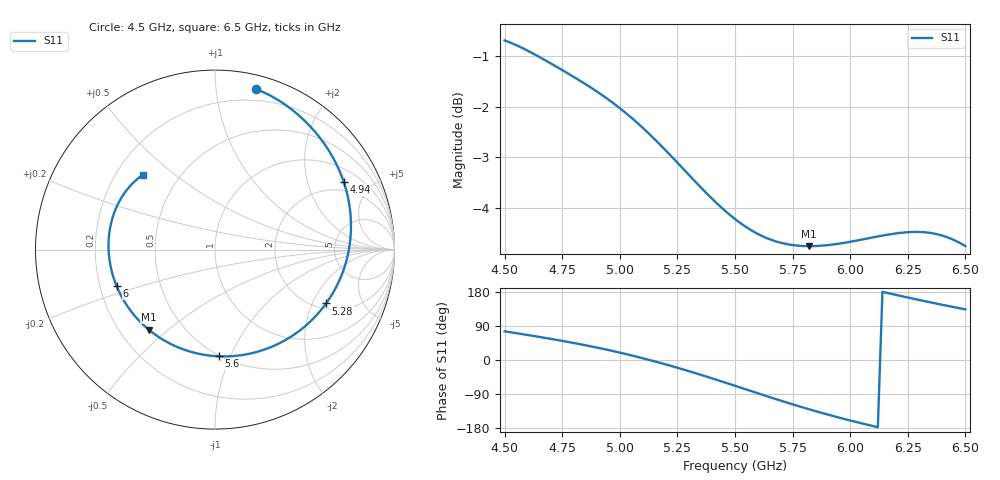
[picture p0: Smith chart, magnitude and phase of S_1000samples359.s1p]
! TOUCHSTONE file generated by CST MICROWAVE STUDIO
! Date and time: Thu Oct 27 21:45:18 2022
! Project name: L.cst
! Parameters = {Di=1.27; Epsilon_r=1.56; InnerDiameter=1.27; Length=2; Lf=10; Lg=60; OuterConductorThickness=0.2921; OuterDiameter=3.6; Wf=3; Wp=41.2; de=1.5; df=6.8; g=0.8; gx=2.61338; gy=1.91524; h=2.34; hf=1.524; px=11.1121; py=11.2904; w=9.7; wx=8.49874; wy=9.3752}
! Header version: 2018
! Port assignment regex: !\s*Touchstone port\s*([0-9]+)\s*=\s*(CST MWS port|CST DS port)\s*([0-9]+|Zmin|Zmax)\s*\(\"(.*)\"\)(\s*mode\s*([0-9]+))?.*
! Touchstone port assignment:
! Touchstone port 1 = CST MWS port 1 ("")
# GHz S DB R 50
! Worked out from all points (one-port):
!   101 points, 4.5 GHz to 6.5 GHz, reference 50 ohm
!   lowest |S11| = -4.7 dB at 5.82 GHz (marker M1), VSWR 3.75, Z = 16 - j21.5 ohm
!   |S11| at or under -10 dB: nowhere
!   S11 on the Smith chart (normalised r, x): 4.5 GHz: 0.11, +1.28; 4.94 GHz: 1.55, +3.40; 5.28 GHz: 2.24, -2.55; 5.6 GHz: 0.49, -0.91; 6 GHz: 0.27, -0.17; 6.5 GHz: 0.31, +0.39
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4.5  -0.70 75.6
4.62  -0.95 64.0
4.76  -1.31 49.4
4.86  -1.58 37.8
4.94  -1.83 27.7
5  -2.03 19.5
5.08  -2.34 7.7
5.14  -2.59 -1.8
5.2  -2.87 -11.8
5.26  -3.15 -22.2
5.28  -3.25 -25.8
5.34  -3.54 -36.9
5.4  -3.81 -48.4
5.46  -4.06 -60.1
5.5  -4.21 -68.0
5.54  -4.35 -76.0
5.6  -4.51 -88.0
5.68  -4.66 -103.6
5.76  -4.73 -118.8
5.82  -4.75 -129.7
5.9  -4.73 -143.5
6  -4.66 -159.6
6.06  -4.61 -168.6
6.12  -4.56 -177.3
6.18  -4.51 174.3
6.26  -4.47 163.6
6.38  -4.51 148.1
6.5  -4.75 133.8
